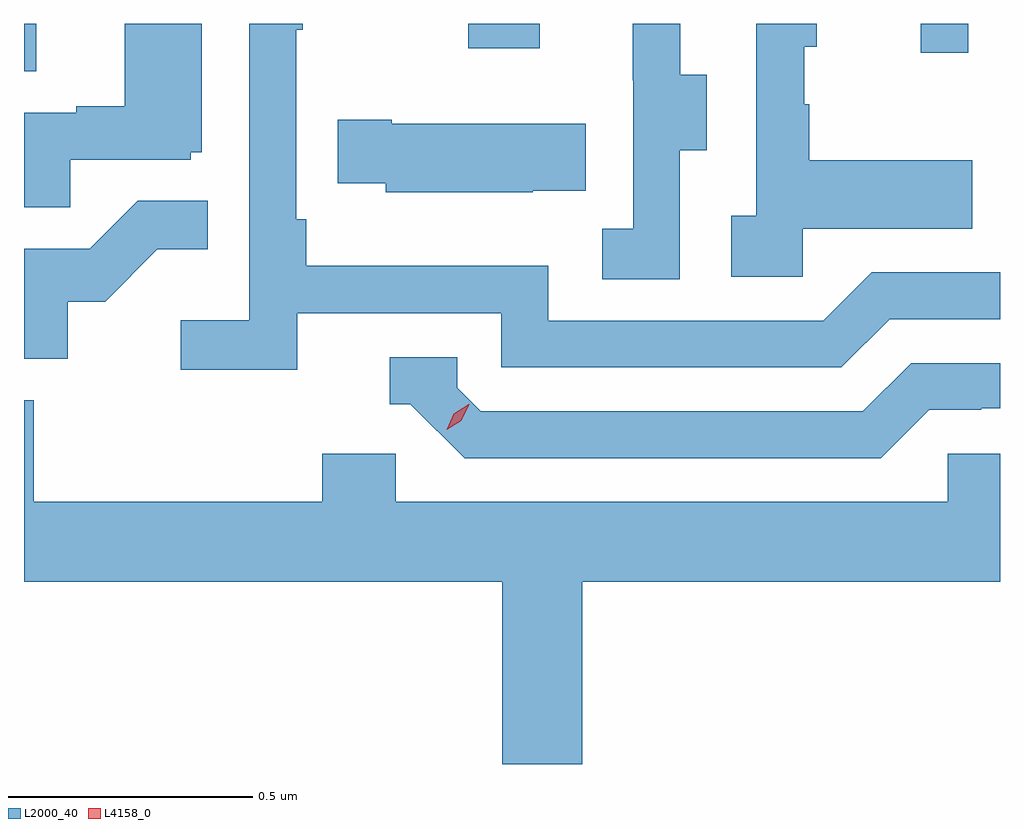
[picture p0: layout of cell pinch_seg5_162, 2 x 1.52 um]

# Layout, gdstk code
import gdstk
lib = gdstk.Library(unit=1e-6, precision=1e-09)
def R(c, l, rs):  # rectangles x0, y0, x1, y1
    for r in rs: c.add(gdstk.rectangle(r[:2], r[2:], *l))
def P(c, l, *ps):  # polygons
    for p in ps: c.add(gdstk.Polygon(p, *l))
L2000_40 = (2000, 40)
L4158_0 = (4158, 0)

pinch_seg5_162 = lib.new_cell('pinch_seg5_162')
R(pinch_seg5_162, L2000_40, [(1111.08,891.106,1111.105,891.203), (1112.918,891.144,1113.015,891.203), (1111.99,891.153,1112.137,891.203)])
P(pinch_seg5_162, L2000_40, [(1112.676,890.783),(1113.023,890.783),(1113.023,890.923),(1112.689,890.923),(1112.689,891.038),(1112.679,891.038),(1112.679,891.156),(1112.704,891.156),(1112.704,891.203),(1112.58,891.203),(1112.58,890.81),(1112.529,890.81),(1112.529,890.685),(1112.676,890.685)],
  [(1112.424,890.944),(1112.479,890.944),(1112.479,891.099),(1112.425,891.099),(1112.425,891.203),(1112.327,891.203),(1112.327,891.087),(1112.328,891.087),(1112.328,890.783),(1112.265,890.783),(1112.265,890.68),(1112.424,890.68)],
  [(1111.175,890.925),(1111.422,890.925),(1111.422,890.94),(1111.444,890.94),(1111.444,891.203),(1111.286,891.203),(1111.286,891.034),(1111.187,891.034),(1111.187,891.021),(1111.08,891.021),(1111.08,890.827),(1111.175,890.827)],
  [(1111.64,890.61),(1112.058,890.61),(1112.058,890.499),(1112.755,890.499),(1112.854,890.598),(1113.08,890.598),(1113.08,890.694),(1112.817,890.694),(1112.718,890.595),(1112.154,890.595),(1112.154,890.707),(1111.658,890.707),(1111.658,890.803),(1111.638,890.803),(1111.638,891.191),(1111.651,891.191),(1111.651,891.203),(1111.542,891.203),(1111.542,890.596),(1111.401,890.596),(1111.401,890.494),(1111.64,890.494)],
  [(1112.123,890.861),(1112.231,890.861),(1112.231,890.998),(1111.834,890.998),(1111.834,891.006),(1111.723,891.006),(1111.723,890.876),(1111.821,890.876),(1111.821,890.858),(1112.123,890.858)],
  [(1111.17,890.634),(1111.246,890.634),(1111.353,890.741),(1111.457,890.741),(1111.457,890.84),(1111.313,890.84),(1111.215,890.742),(1111.08,890.742),(1111.08,890.517),(1111.17,890.517)],
  [(1112.935,890.412),(1113.042,890.412),(1113.042,890.415),(1113.08,890.415),(1113.08,890.508),(1112.898,890.508),(1112.799,890.409),(1112.016,890.409),(1111.968,890.457),(1111.968,890.52),(1111.829,890.52),(1111.829,890.424),(1111.872,890.424),(1111.983,890.313),(1112.836,890.313)],
  [(1111.842,890.322),(1111.691,890.322),(1111.691,890.224),(1111.1,890.224),(1111.1,890.432),(1111.08,890.432),(1111.08,890.06),(1112.06,890.06),(1112.06,889.686),(1112.224,889.686),(1112.224,890.06),(1113.08,890.06),(1113.08,890.322),(1112.973,890.322),(1112.973,890.224),(1111.842,890.224)])
P(pinch_seg5_162, L4158_0, [(1111.946,890.371),(1111.946,890.371),(1111.961,890.404),(1111.991,890.423),(1111.992,890.423),(1111.992,890.423),(1111.976,890.39),(1111.946,890.371)])

lib.write_gds('pinch_seg5_162.gds')
